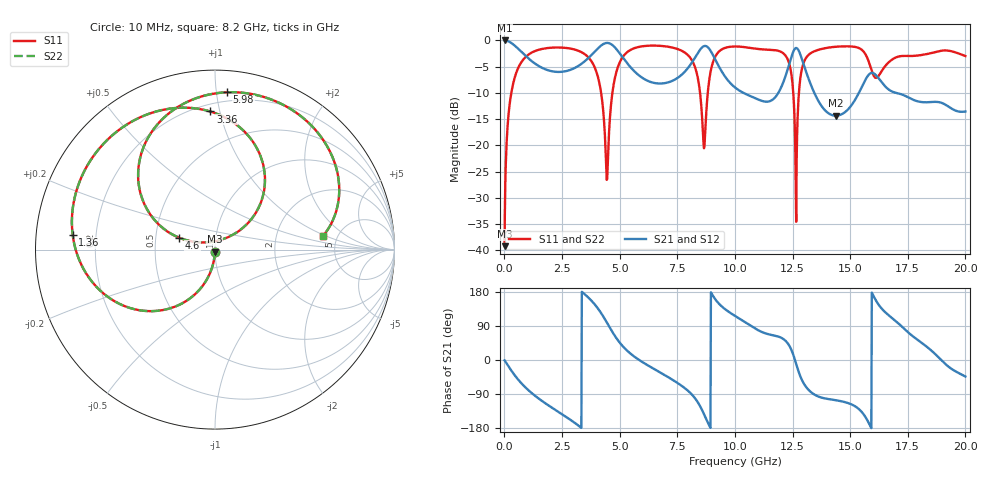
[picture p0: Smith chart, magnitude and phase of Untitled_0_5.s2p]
! TOUCHSTONE file generated by CST MICROWAVE STUDIO
! Date and time: Tue Oct 21 13:47:28 2025
! Project name: Untitled_0.cst
! Parameters = {E4_4=4.4; E4_3=0.85; E4_2=9.925; E4_1=10.075; E3_4=4.25; E3_3=0.85; E3_2=9.7; E3_1=10.3; E2_4=0.85; E2_3=-0.85; E2_2=11.85; E2_1=8.15; y=0.017; x=0; Tr6=-2; Tr5=2; Tr4=11; Tr3=2; Tr2=15; Tr1=-5; g3=3; g2=2; g1=0.15; E1_4=1; E1_3=-1; E1_2=12; E1_1=8; SP3_2_6=3.5; SP3_2_5=3.5; SP3_2_4=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
! Header version: 2018
! Port assignment regex: !\s*Touchstone port\s*([0-9]+)\s*=\s*(CST MWS port|CST DS port)\s*([0-9]+|Zmin|Zmax)\s*\(\"(.*)\"\)(\s*mode\s*([0-9]+))?.*
! Touchstone port assignment:
! Touchstone port 1 = CST MWS port 1 ("")
! Touchstone port 2 = CST MWS port 2 ("")
# GHz S DB R 50
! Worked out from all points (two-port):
!   1004 points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, 10 MHz to 20 GHz, reference 50 ohm
!   highest |S21| = 0.00 dB at 10 MHz (marker M1); lowest = -14.3 dB at 14.38 GHz (marker M2)
!   |S21| within 3 dB of the highest: start of sweep to 936.4 MHz; 3.726 GHz to 5.096 GHz (1.37 GHz wide, 31.1 % of centre)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
!   lowest |S11| = -39.2 dB at 10 MHz (marker M3), VSWR 1.02, Z = 49.9 - j1.09 ohm
!   |S11| at or under -10 dB: start of sweep to 300.5 MHz; 4.197 GHz to 4.686 GHz (489 MHz wide, 11 % of centre); 8.489 GHz to 8.823 GHz (334.7 MHz wide, 3.87 % of centre)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
!   |S22| runs from -39.1 to -1.0 dB; largest |S21 - S12| = 0.00034
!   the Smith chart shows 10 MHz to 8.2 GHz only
!   S11 on the Smith chart (normalised r, x): 10 MHz: 1.00, -0.02; 1.36 GHz: 0.11, +0.05; 3.36 GHz: 0.25, +0.94; 4.6 GHz: 0.66, +0.09; 5.98 GHz: 0.14, +1.07; 8.2 GHz: 3.85, +0.95
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0.01  -39.21 -92.3  -0.00 -1.0  -0.00 -1.0  -39.08 -92.3
0.34  -9.06 -121.6  -0.61 -31.2  -0.61 -31.2  -9.06 -121.6
1.36  -1.97 174.0  -4.51 -95.8  -4.51 -95.8  -1.97 174.0
3.36  -2.27 91.9  -4.40 179.9  -4.40 179.9  -2.27 92.0
4.06  -6.98 51.8  -1.51 135.8  -1.51 135.8  -6.98 51.9
4.44  -26.57 86.3  -0.48 99.6  -0.48 99.6  -26.43 86.5
4.6  -13.58 161.8  -0.63 82.8  -0.63 82.8  -13.57 161.6
5.06  -3.71 130.0  -2.79 41.6  -2.79 41.6  -3.71 130.0
5.98  -1.12 85.7  -7.12 -5.2  -7.12 -5.2  -1.12 85.6
6.68  -1.01 62.8  -8.21 -30.1  -8.21 -30.1  -1.01 62.8
8.2  -4.32 7.3  -3.77 -95.6  -3.77 -95.7  -4.33 7.3
8.64  -19.67 19.5  -1.13 -140.2  -1.13 -140.2  -19.63 19.7
8.84  -9.26 93.4  -1.36 -166.9  -1.35 -166.9  -9.26 93.3
10.02  -1.15 30.2  -9.02 115.8  -9.02 115.8  -1.16 30.1
12.2  -2.91 -32.2  -6.75 50.5  -6.75 50.5  -2.93 -32.1
12.66  -34.57 74.4  -1.44 -10.5  -1.44 -10.5  -34.42 73.0
12.9  -5.59 42.7  -3.45 -51.7  -3.45 -51.7  -5.60 42.7
13.34  -2.30 11.7  -8.93 -86.7  -8.93 -86.7  -2.31 11.8
14.38  -1.20 -17.0  -14.35 -106.2  -14.35 -106.2  -1.21 -16.9
15.92  -5.53 -59.6  -6.21 -179.8  -6.21 -179.8  -5.53 -59.5
16.68  -4.14 -32.0  -9.38 117.7  -9.38 117.7  -4.14 -32.0
20  -2.98 -87.3  -13.54 -43.7  -13.54 -43.7  -3.00 -87.3
